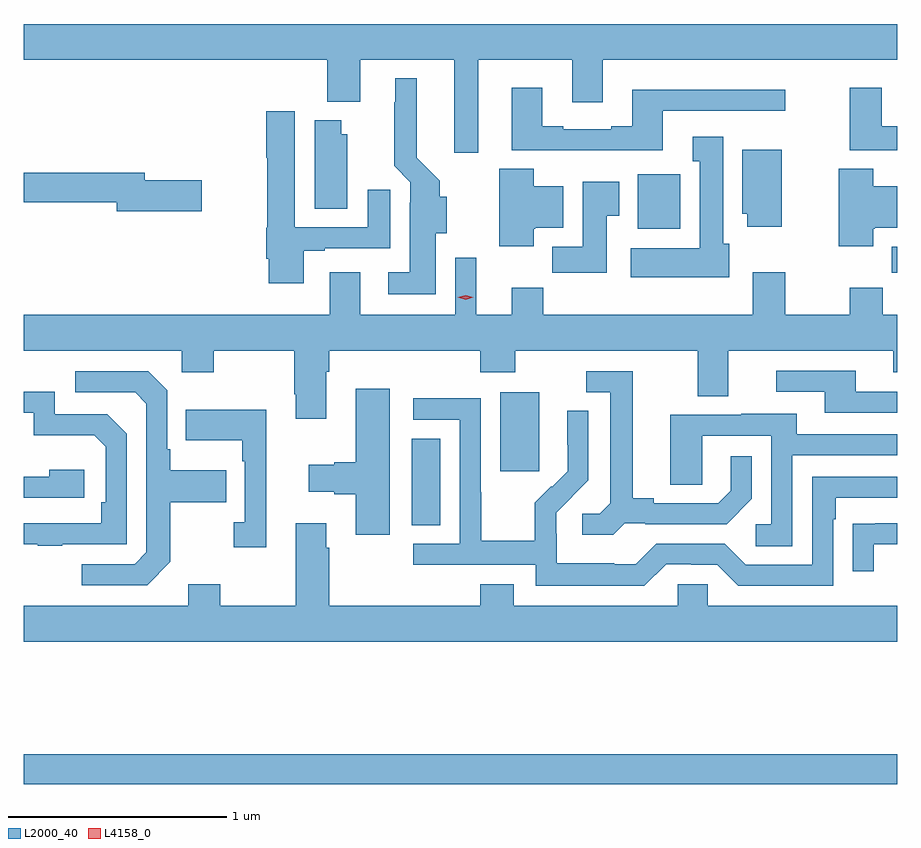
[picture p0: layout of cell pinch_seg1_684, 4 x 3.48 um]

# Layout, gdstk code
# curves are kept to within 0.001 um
import gdstk
lib = gdstk.Library(unit=1e-6, precision=1e-09)
def R(c, l, rs):  # rectangles x0, y0, x1, y1
    for r in rs: c.add(gdstk.rectangle(r[:2], r[2:], *l))
def P(c, l, *ps):  # polygons
    for p in ps: c.add(gdstk.Polygon(p, *l))
L2000_40 = (2000, 40)
L4158_0 = (4158, 0)

pinch_seg1_684 = lib.new_cell('pinch_seg1_684')
R(pinch_seg1_684, L2000_40, [(671.3,556.408,675.3,556.544), (673.076,557.593,673.207,557.99), (673.481,557.841,673.66,558.202), (675.274,558.75,675.3,558.868), (674.111,558.95,674.307,559.201)])
P(pinch_seg1_684, L2000_40, [(673.381,559.724),(673.811,559.724),(673.811,559.53),(673.951,559.53),(673.951,559.724),(675.3,559.724),(675.3,559.888),(671.3,559.888),(671.3,559.724),(672.689,559.724),(672.689,559.532),(672.841,559.532),(672.841,559.724),(673.271,559.724),(673.271,559.299),(673.381,559.299)],
  [(673.186,558.93),(673.237,558.93),(673.237,559.097),(673.204,559.097),(673.204,559.17),(673.099,559.276),(673.099,559.639),(673.001,559.639),(673.001,559.529),(672.997,559.529),(672.997,559.238),(673.071,559.164),(673.071,559.07),(673.067,559.07),(673.067,558.751),(672.969,558.751),(672.969,558.65),(673.186,558.65)],
  [(674.227,559.491),(674.788,559.491),(674.788,559.588),(674.087,559.588),(674.087,559.42),(673.991,559.42),(673.991,559.407),(673.771,559.407),(673.771,559.42),(673.675,559.42),(673.675,559.597),(673.535,559.597),(673.535,559.311),(673.763,559.311),(673.763,559.31),(674.227,559.31)],
  [(675.3,559.42),(675.229,559.42),(675.229,559.597),(675.082,559.597),(675.082,559.311),(675.3,559.311)],
  [(672.583,558.849),(672.679,558.849),(672.679,558.861),(672.979,558.861),(672.979,559.129),(672.875,559.129),(672.875,558.957),(672.541,558.957),(672.541,559.489),(672.41,559.489),(672.41,559.276),(672.415,559.276),(672.415,558.954),(672.41,558.954),(672.41,558.814),(672.422,558.814),(672.422,558.702),(672.583,558.702)],
  [(672.781,559.383),(672.754,559.383),(672.754,559.447),(672.632,559.447),(672.632,559.042),(672.781,559.042)],
  [(674.53,558.882),(674.503,558.882),(674.503,559.372),(674.363,559.372),(674.363,559.259),(674.396,559.259),(674.396,558.862),(674.079,558.862),(674.079,558.728),(674.53,558.728)],
  [(674.77,559.312),(674.591,559.312),(674.591,559.02),(674.612,559.02),(674.612,558.96),(674.77,558.96)],
  [(675.19,558.95),(675.196,558.95),(675.196,558.956),(675.3,558.956),(675.3,559.144),(675.19,559.144),(675.19,559.226),(675.032,559.226),(675.032,558.87),(675.19,558.87)],
  [(673.636,558.95),(673.642,558.95),(673.642,558.956),(673.771,558.956),(673.771,559.144),(673.636,559.144),(673.636,559.226),(673.478,559.226),(673.478,558.87),(673.636,558.87)],
  [(672.115,559.172),(671.854,559.172),(671.854,559.208),(671.3,559.208),(671.3,559.072),(671.726,559.072),(671.726,559.03),(672.115,559.03)],
  [(673.969,559.009),(674.026,559.009),(674.026,559.165),(673.859,559.165),(673.859,558.868),(673.72,558.868),(673.72,558.75),(673.969,558.75)],
  [(672.685,558.296),(672.698,558.296),(672.698,558.392),(673.391,558.392),(673.391,558.293),(673.551,558.293),(673.551,558.392),(674.387,558.392),(674.387,558.184),(674.527,558.184),(674.527,558.392),(675.281,558.392),(675.281,558.293),(675.3,558.293),(675.3,558.556),(675.233,558.556),(675.233,558.68),(675.082,558.68),(675.082,558.556),(674.787,558.556),(674.787,558.751),(674.639,558.751),(674.639,558.556),(673.679,558.556),(673.679,558.68),(673.535,558.68),(673.535,558.556),(673.372,558.556),(673.372,558.817),(673.275,558.817),(673.275,558.556),(672.841,558.556),(672.841,558.751),(672.701,558.751),(672.701,558.556),(671.3,558.556),(671.3,558.392),(672.024,558.392),(672.024,558.293),(672.171,558.293),(672.171,558.392),(672.538,558.392),(672.538,558.193),(672.545,558.193),(672.545,558.081),(672.685,558.081)],
  [(675.3,558.204),(675.109,558.204),(675.109,558.3),(674.745,558.3),(674.745,558.204),(674.969,558.204),(674.969,558.108),(675.3,558.108)],
  [(674.052,557.601),(674.146,557.601),(674.146,557.598),(674.518,557.598),(674.634,557.714),(674.634,557.908),(674.537,557.908),(674.537,557.751),(674.48,557.694),(674.185,557.694),(674.185,557.717),(674.089,557.717),(674.089,558.297),(673.875,558.297),(673.875,558.201),(673.985,558.201),(673.985,557.693),(673.938,557.646),(673.857,557.646),(673.857,557.549),(674,557.549)],
  [(671.971,557.425),(671.971,557.698),(672.227,557.698),(672.227,557.845),(671.971,557.845),(671.971,557.941),(671.958,557.941),(671.958,558.21),(671.871,558.297),(671.535,558.297),(671.535,558.201),(671.811,558.201),(671.862,558.15),(671.862,557.469),(671.808,557.415),(671.565,557.415),(671.565,557.319),(671.865,557.319)],
  [(672.976,558.217),(672.821,558.217),(672.821,557.882),(672.722,557.882),(672.722,557.869),(672.606,557.869),(672.606,557.747),(672.722,557.747),(672.722,557.735),(672.821,557.735),(672.821,557.55),(672.976,557.55)],
  [(671.477,557.505),(671.772,557.505),(671.772,558.012),(671.682,558.102),(671.442,558.102),(671.442,558.204),(671.3,558.204),(671.3,558.108),(671.346,558.108),(671.346,558.005),(671.623,558.005),(671.676,557.952),(671.676,557.698),(671.656,557.698),(671.656,557.601),(671.3,557.601),(671.3,557.505),(671.365,557.505),(671.365,557.5),(671.477,557.5)],
  [(674.241,557.415),(674.357,557.415),(674.357,557.412),(674.475,557.412),(674.571,557.316),(675.006,557.316),(675.006,557.621),(675.019,557.621),(675.019,557.718),(675.3,557.718),(675.3,557.814),(674.91,557.814),(674.91,557.412),(674.607,557.412),(674.511,557.508),(674.196,557.508),(674.103,557.415),(674.003,557.415),(674.003,557.419),(673.74,557.419),(673.74,557.553),(673.738,557.553),(673.738,557.65),(673.884,557.798),(673.884,558.116),(673.788,558.116),(673.788,557.962),(673.79,557.962),(673.79,557.84),(673.719,557.769),(673.716,557.772),(673.639,557.695),(673.639,557.521),(673.395,557.521),(673.395,557.744),(673.392,557.744),(673.392,558.174),(673.083,558.174),(673.083,558.075),(673.296,558.075),(673.296,557.508),(673.083,557.508),(673.083,557.412),(673.644,557.412),(673.644,557.315),(674.141,557.315)],
  [(672.41,558.121),(672.043,558.121),(672.043,557.981),(672.3,557.981),(672.3,557.885),(672.312,557.885),(672.312,557.606),(672.261,557.606),(672.261,557.493),(672.41,557.493)],
  [(674.82,557.913),(675.3,557.913),(675.3,558.009),(674.839,558.009),(674.839,558.103),(674.585,558.103),(674.585,558.099),(674.261,558.099),(674.261,557.779),(674.406,557.779),(674.406,558.003),(674.724,558.003),(674.724,557.598),(674.652,557.598),(674.652,557.497),(674.82,557.497)],
  [(671.578,557.848),(671.417,557.848),(671.417,557.814),(671.3,557.814),(671.3,557.718),(671.578,557.718)],
  [(675.3,557.224),(674.433,557.224),(674.433,557.322),(674.295,557.322),(674.295,557.224),(673.543,557.224),(673.543,557.323),(673.391,557.323),(673.391,557.224),(672.698,557.224),(672.698,557.489),(672.685,557.489),(672.685,557.602),(672.545,557.602),(672.545,557.224),(672.201,557.224),(672.201,557.323),(672.053,557.323),(672.053,557.224),(671.3,557.224),(671.3,557.06),(675.3,557.06)],
  [(675.193,557.505),(675.3,557.505),(675.3,557.601),(675.199,557.601),(675.199,557.6),(675.097,557.6),(675.097,557.382),(675.193,557.382)])
P(pinch_seg1_684, L4158_0, [(673.323,558.626),(673.287,558.636),(673.287,558.636),(673.287,558.636),(673.323,558.646),(673.358,558.636),(673.358,558.636),(673.358,558.636)])

lib.write_gds('pinch_seg1_684.gds')
